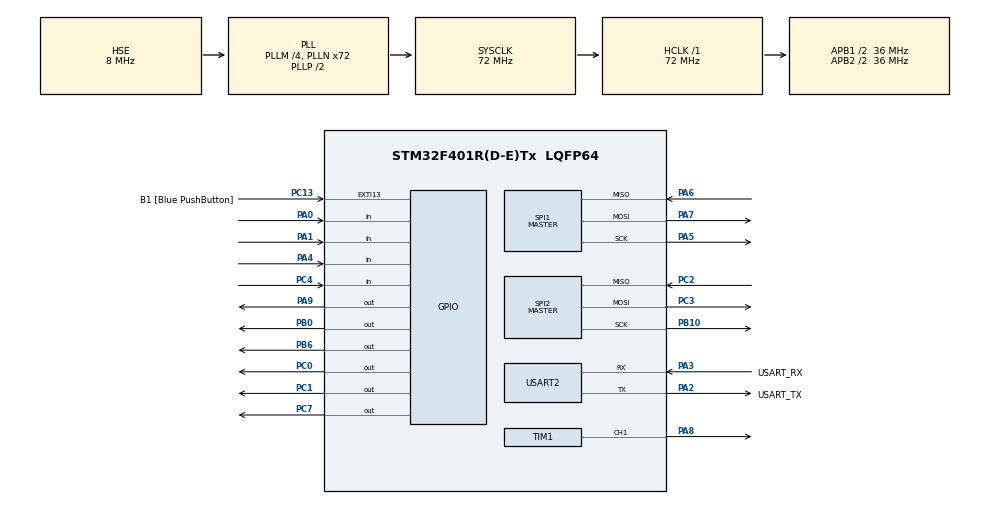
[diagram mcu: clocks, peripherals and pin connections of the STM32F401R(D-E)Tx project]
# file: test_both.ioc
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Dma.Request0=TIM1_CH1
Dma.Request1=SPI2_TX
Dma.Request2=SPI1_TX
Dma.SPI1_TX.2.Direction=DMA_MEMORY_TO_PERIPH
Dma.SPI1_TX.2.FIFOMode=DMA_FIFOMODE_DISABLE
Dma.SPI1_TX.2.Instance=DMA2_Stream3
Dma.SPI1_TX.2.MemDataAlignment=DMA_MDATAALIGN_BYTE
Dma.SPI1_TX.2.MemInc=DMA_MINC_ENABLE
Dma.SPI1_TX.2.Mode=DMA_NORMAL
Dma.SPI1_TX.2.PeriphDataAlignment=DMA_PDATAALIGN_BYTE
Dma.SPI1_TX.2.PeriphInc=DMA_PINC_DISABLE
Dma.SPI1_TX.2.Priority=DMA_PRIORITY_LOW
Dma.SPI2_TX.1.Direction=DMA_MEMORY_TO_PERIPH
Dma.SPI2_TX.1.FIFOMode=DMA_FIFOMODE_DISABLE
Dma.SPI2_TX.1.Instance=DMA1_Stream4
Dma.SPI2_TX.1.MemDataAlignment=DMA_MDATAALIGN_BYTE
Dma.SPI2_TX.1.MemInc=DMA_MINC_ENABLE
Dma.SPI2_TX.1.Mode=DMA_NORMAL
Dma.SPI2_TX.1.PeriphDataAlignment=DMA_PDATAALIGN_BYTE
Dma.SPI2_TX.1.PeriphInc=DMA_PINC_DISABLE
Dma.SPI2_TX.1.Priority=DMA_PRIORITY_LOW
Dma.TIM1_CH1.0.Direction=DMA_MEMORY_TO_PERIPH
Dma.TIM1_CH1.0.FIFOMode=DMA_FIFOMODE_DISABLE
Dma.TIM1_CH1.0.Instance=DMA2_Stream1
Dma.TIM1_CH1.0.MemDataAlignment=DMA_MDATAALIGN_HALFWORD
Dma.TIM1_CH1.0.MemInc=DMA_MINC_ENABLE
Dma.TIM1_CH1.0.Mode=DMA_NORMAL
Dma.TIM1_CH1.0.PeriphDataAlignment=DMA_PDATAALIGN_HALFWORD
Dma.TIM1_CH1.0.PeriphInc=DMA_PINC_DISABLE
Dma.TIM1_CH1.0.Priority=DMA_PRIORITY_LOW
Mcu.Family=STM32F4
Mcu.Name=STM32F401R(D-E)Tx
Mcu.Package=LQFP64
NVIC.DMA1_Stream4_IRQn=true\:0\:0\:false\:false\:true\:false\:true\:true
NVIC.DMA2_Stream1_IRQn=true\:0\:0\:false\:false\:true\:false\:true\:true
NVIC.DMA2_Stream3_IRQn=true\:0\:0\:false\:false\:true\:false\:true\:true
NVIC.PriorityGroup=NVIC_PRIORITYGROUP_4
NVIC.TIM1_CC_IRQn=true\:0\:0\:false\:false\:true\:true\:true\:true
NVIC.TIM1_TRG_COM_TIM11_IRQn=true\:0\:0\:false\:false\:true\:true\:true\:true
PA0-WKUP.Signal=GPIO_Input
PA1.Signal=GPIO_Input
PA13.GPIO_Label=TMS
PA13.Mode=Trace_Asynchronous_SW
PA13.Signal=SYS_JTMS-SWDIO
PA14.GPIO_Label=TCK
PA14.Mode=Trace_Asynchronous_SW
PA14.Signal=SYS_JTCK-SWCLK
PA2.GPIO_Label=USART_TX
PA2.GPIO_Mode=GPIO_MODE_AF_PP
PA2.GPIO_PuPd=GPIO_NOPULL
PA2.GPIO_Speed=GPIO_SPEED_FREQ_LOW
PA2.Mode=Asynchronous
PA2.Signal=USART2_TX
PA3.GPIO_Label=USART_RX
PA3.GPIO_Mode=GPIO_MODE_AF_PP
PA3.GPIO_PuPd=GPIO_NOPULL
PA3.GPIO_Speed=GPIO_SPEED_FREQ_LOW
PA3.Mode=Asynchronous
PA3.Signal=USART2_RX
PA4.Signal=GPIO_Input
PA5.Mode=Full_Duplex_Master
PA5.Signal=SPI1_SCK
PA6.Mode=Full_Duplex_Master
PA6.Signal=SPI1_MISO
PA7.Mode=Full_Duplex_Master
PA7.Signal=SPI1_MOSI
PA8.Signal=S_TIM1_CH1
PA9.Signal=GPIO_Output
PB0.Signal=GPIO_Output
PB10.Mode=Full_Duplex_Master
PB10.Signal=SPI2_SCK
PB3.GPIO_Label=SWO
PB3.Mode=Trace_Asynchronous_SW
PB3.Signal=SYS_JTDO-SWO
PB6.Signal=GPIO_Output
PC0.Signal=GPIO_Output
PC1.Signal=GPIO_Output
PC13-ANTI_TAMP.GPIO_Label=B1 [Blue PushButton]
PC13-ANTI_TAMP.GPIO_ModeDefaultEXTI=GPIO_MODE_IT_FALLING
PC13-ANTI_TAMP.GPIO_PuPd=GPIO_NOPULL
PC13-ANTI_TAMP.Signal=GPXTI13
PC14-OSC32_IN.Mode=LSE-External-Oscillator
PC14-OSC32_IN.Signal=RCC_OSC32_IN
PC15-OSC32_OUT.Mode=LSE-External-Oscillator
PC15-OSC32_OUT.Signal=RCC_OSC32_OUT
PC2.Mode=Full_Duplex_Master
PC2.Signal=SPI2_MISO
PC3.Mode=Full_Duplex_Master
PC3.Signal=SPI2_MOSI
PC4.Signal=GPIO_Input
PC7.Signal=GPIO_Output
PH0\ -\ OSC_IN.Mode=HSE-External-Clock-Source
PH0\ -\ OSC_IN.Signal=RCC_OSC_IN
PH1\ -\ OSC_OUT.Mode=HSE-External-Clock-Source
PH1\ -\ OSC_OUT.Signal=RCC_OSC_OUT
ProjectManager.HeapSize=0x200
ProjectManager.StackSize=0x400
ProjectManager.TargetToolchain=STM32CubeIDE
RCC.48MHZClocksFreq_Value=20571428.57142857
RCC.AHBFreq_Value=72000000
RCC.APB1CLKDivider=RCC_HCLK_DIV2
RCC.APB1Freq_Value=36000000
RCC.APB1TimFreq_Value=72000000
RCC.APB2CLKDivider=RCC_HCLK_DIV2
RCC.APB2Freq_Value=36000000
RCC.APB2TimFreq_Value=72000000
RCC.CortexFreq_Value=72000000
RCC.HCLKFreq_Value=72000000
RCC.HSE_VALUE=8000000
RCC.HSI_VALUE=16000000
RCC.PLLM=4
RCC.PLLN=72
RCC.PLLQ=7
RCC.PLLSourceVirtual=RCC_PLLSOURCE_HSE
RCC.SYSCLKFreq_VALUE=72000000
RCC.SYSCLKSource=RCC_SYSCLKSOURCE_PLLCLK
RCC.VCOOutputFreq_Value=144000000
SH.S_TIM1_CH1.0=TIM1_CH1,PWM Generation1 CH1
SPI1.BaudRatePrescaler=SPI_BAUDRATEPRESCALER_8
SPI1.Direction=SPI_DIRECTION_2LINES
SPI1.Mode=SPI_MODE_MASTER
SPI1.VirtualType=VM_MASTER
SPI2.BaudRatePrescaler=SPI_BAUDRATEPRESCALER_256
SPI2.Direction=SPI_DIRECTION_2LINES
SPI2.Mode=SPI_MODE_MASTER
SPI2.VirtualType=VM_MASTER
TIM1.Channel-PWM\ Generation1\ CH1=TIM_CHANNEL_1
TIM1.Period=90-1
USART2.VirtualMode=VM_ASYNC
VP_FATFS_VS_Generic.Mode=User_defined
board=NUCLEO-F401RE

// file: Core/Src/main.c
/* USER CODE BEGIN Header */
/**
  ******************************************************************************
  * @file           : main.c
  * @brief          : Main program body
  ******************************************************************************
  * @attention
  *
  * Copyright (c) 2025 STMicroelectronics.
  * All rights reserved.
  *
  * This software is licensed under terms that can be found in the LICENSE file
  * in the root directory of this software component.
  * If no LICENSE file comes with this software, it is provided AS-IS.
  *
  ******************************************************************************
  */
/* USER CODE END Header */
#include "main.h"

/* USER CODE BEGIN Includes */
#include "gpio.h"
#include "dma.h"
#include "spi.h"
#include "tim.h"
#include "usart.h"
#include "menu.h"
#include "fatfs.h"
#include "chess_clock.h"
#include "mux.h"

//Załączenie bibliotek do obsługi wyświetlacza + ARGB
#include "led_scheduler.h"
#include "lcd_scheduler.h"
#include "ILI9341_STM32_Driver.h"
#include "ILI9341_GFX.h"

#include "chess_pieces.h"

#include <stdio.h>
#include <string.h>
#include <stdarg.h> //for va_list var arg functions
/* USER CODE END Includes */

void SystemClock_Config(void);
/* USER CODE BEGIN PFP */
void myprintf(const char *fmt, ...);
/* USER CODE END PFP */

/* USER CODE BEGIN 0 */
void myprintf(const char *fmt, ...) {
  static char buffer[256];
  va_list args;
  va_start(args, fmt);
  vsnprintf(buffer, sizeof(buffer), fmt, args);
  va_end(args);

  int len = strlen(buffer);
  HAL_UART_Transmit(&huart2, (uint8_t*)buffer, len, -1);

}
/* USER CODE END 0 */

int main(void)
{

  /* MCU Configuration--------------------------------------------------------*/

  /* Reset of all peripherals, Initializes the Flash interface and the Systick. */
  HAL_Init();

  /* Configure the system clock */
  SystemClock_Config();

  /* Initialize all configured peripherals */\
  HAL_Init();
  SystemClock_Config();
  MX_GPIO_Init();
  MX_DMA_Init();
  MX_USART2_UART_Init();
  MX_TIM1_Init();
  MX_SPI2_Init();
  MX_SPI1_Init();
  ILI9341_Init();
  Menu_Init();

  //cycle_mux_channels();

  /* Infinite loop */
  /* USER CODE BEGIN WHILE */
  for (;;)
      {
          MenuResult r = Menu_ShowMain();

          if (r == MENU_RESULT_CHESS_CLOCK) {
        	  ChessClock_SetInitialTime(5 * 60 * 1000); // 5 minut (opcjonalnie)
        	  ChessClock_Run(); // wraca po BACK; przywraca orientację menu
          }
          else if (r == MENU_RESULT_OPENINGS) {
              // TODO: podmenu wyboru otwarc
				ILI9341_Fill_Screen(BLACK);
				ILI9341_Draw_Text("TODO: Otwarcia", 10, 10, WHITE, 2, BLACK);
				led_scheduler_init();
				ledchess_set_origin_top(false);

				// wyczyść planszę na ciemno
				ws2812_set_all(0,0,0);
				leds_show_and_pause(2000);

				// 1) Ruch pionkiem białym: e2 -> e4
				ledchess_draw_move(PIECE_PAWN, "e2", "e4", 0,255,0, LEDCHESS_WHITE);
				leds_show_and_pause(2000);
				ws2812_set_all(0,0,0);
				leds_show_and_pause(50);

				// 2) Skoczek: g1 -> f3
				ledchess_draw_move(PIECE_KNIGHT, "g1", "f3", 255,128,0, LEDCHESS_WHITE);
				leds_show_and_pause(2000);
				ws2812_set_all(0,0,0);
				leds_show_and_pause(50);

				// 3) Goniec: c1 -> h6
				ledchess_draw_move(PIECE_BISHOP, "c1", "h6", 0,128,255, LEDCHESS_WHITE);
				leds_show_and_pause(2000);
				ws2812_set_all(0,0,0);
				leds_show_and_pause(50);

				// 4) Wieża: a1 -> a8
				ledchess_draw_move(PIECE_ROOK, "a1", "a8", 255,0,0, LEDCHESS_WHITE);
				leds_show_and_pause(2000);
				ws2812_set_all(0,0,0);
				leds_show_and_pause(50);

				// 5) Hetman: d1 -> h5 (po skosie)
				ledchess_draw_move(PIECE_QUEEN, "d1", "h5", 255,0,255, LEDCHESS_WHITE);
				leds_show_and_pause(2000);
				ws2812_set_all(0,0,0);
				leds_show_and_pause(50);

				// 6) Król: e1 -> e2 (tylko pole docelowe)
				ledchess_draw_move(PIECE_KING, "e1", "e2", 255,255,0, LEDCHESS_WHITE);
				leds_show_and_pause(2000);
				ws2812_set_all(0,0,0);
				leds_show_and_pause(50);
              HAL_Delay(1000);
          }
          else if(r == MENU_RESULT_MUX){
        	  cycle_mux_channels();
              ws2812_set_all(0,0,0);
              leds_show_and_pause(50);
          }
          else { // MENU_RESULT_BACK
              // wróć / zrób co chcesz
          }
      }
  //led_scheduler_init();
  //lcd_scheduler_init();
//  ledchess_set_origin_top(false);
//
//  // wyczyść planszę na ciemno
//  ws2812_set_all(0,0,0);
//  leds_show_and_pause(2000);
//
//  // 1) Ruch pionkiem białym: e2 -> e4
//  ledchess_draw_move(PIECE_PAWN, "e2", "e4", 0,255,0, LEDCHESS_WHITE);
//  leds_show_and_pause(2000);
//  ws2812_set_all(0,0,0);
//  leds_show_and_pause(50);
//
//  // 2) Skoczek: g1 -> f3
//  ledchess_draw_move(PIECE_KNIGHT, "g1", "f3", 255,128,0, LEDCHESS_WHITE);
//  leds_show_and_pause(2000);
//  ws2812_set_all(0,0,0);
//  leds_show_and_pause(50);
//
//  // 3) Goniec: c1 -> h6
//  ledchess_draw_move(PIECE_BISHOP, "c1", "h6", 0,128,255, LEDCHESS_WHITE);
//  leds_show_and_pause(2000);
//  ws2812_set_all(0,0,0);
//  leds_show_and_pause(50);
//
//  // 4) Wieża: a1 -> a8
//  ledchess_draw_move(PIECE_ROOK, "a1", "a8", 255,0,0, LEDCHESS_WHITE);
//  leds_show_and_pause(2000);
//  ws2812_set_all(0,0,0);
//  leds_show_and_pause(50);
//
//  // 5) Hetman: d1 -> h5 (po skosie)
//  ledchess_draw_move(PIECE_QUEEN, "d1", "h5", 255,0,255, LEDCHESS_WHITE);
//  leds_show_and_pause(2000);
//  ws2812_set_all(0,0,0);
//  leds_show_and_pause(50);
//
//  // 6) Król: e1 -> e2 (tylko pole docelowe)
//  ledchess_draw_move(PIECE_KING, "e1", "e2", 255,255,0, LEDCHESS_WHITE);
//  leds_show_and_pause(2000);
//  ws2812_set_all(0,0,0);
//  leds_show_and_pause(50);

  while (1)
  {
	  //set_mux_select(0);
    /* USER CODE END WHILE */
	//led_scheduler_tick();
	//lcd_scheduler_tick();
//	  if (button1_pressed()) {
//		  ILI9341_Fill_Screen(BLACK);  // Wyczyść ekran
//		  ILI9341_Draw_Text("Przycisk 1", 20, 20, WHITE, 2,BLACK);  // Wypisz nazwę przycisku
//	  } else if (button2_pressed()) {
//		  ILI9341_Fill_Screen(BLACK);
//		  ILI9341_Draw_Text("Przycisk 2", 20, 20, WHITE, 2, BLACK);
//	  } else if (button3_pressed()) {
//		  ILI9341_Fill_Screen(BLACK);
//		  ILI9341_Draw_Text("Przycisk 3", 20, 20, WHITE, 2, BLACK);
//	  } else if (button4_pressed()) {
//		  ILI9341_Fill_Screen(BLACK);
//		  ILI9341_Draw_Text("Przycisk 4", 20, 20, WHITE, 2, BLACK);
//	          }
  }
}

void SystemClock_Config(void)
{
  RCC_OscInitTypeDef RCC_OscInitStruct = {0};
  RCC_ClkInitTypeDef RCC_ClkInitStruct = {0};

  /** Configure the main internal regulator output voltage
  */
  __HAL_RCC_PWR_CLK_ENABLE();
  __HAL_PWR_VOLTAGESCALING_CONFIG(PWR_REGULATOR_VOLTAGE_SCALE2);

  /** Initializes the RCC Oscillators according to the specified parameters
  * in the RCC_OscInitTypeDef structure.
  */
  RCC_OscInitStruct.OscillatorType = RCC_OSCILLATORTYPE_HSE;
  RCC_OscInitStruct.HSEState = RCC_HSE_BYPASS;
  RCC_OscInitStruct.PLL.PLLState = RCC_PLL_ON;
  RCC_OscInitStruct.PLL.PLLSource = RCC_PLLSOURCE_HSE;
  RCC_OscInitStruct.PLL.PLLM = 4;
  RCC_OscInitStruct.PLL.PLLN = 72;
  RCC_OscInitStruct.PLL.PLLP = RCC_PLLP_DIV2;
  RCC_OscInitStruct.PLL.PLLQ = 7;
  if (HAL_RCC_OscConfig(&RCC_OscInitStruct) != HAL_OK)
  {
    Error_Handler();
  }

  /** Initializes the CPU, AHB and APB buses clocks
  */
  RCC_ClkInitStruct.ClockType = RCC_CLOCKTYPE_HCLK|RCC_CLOCKTYPE_SYSCLK
                              |RCC_CLOCKTYPE_PCLK1|RCC_CLOCKTYPE_PCLK2;
  RCC_ClkInitStruct.SYSCLKSource = RCC_SYSCLKSOURCE_PLLCLK;
  RCC_ClkInitStruct.AHBCLKDivider = RCC_SYSCLK_DIV1;
  RCC_ClkInitStruct.APB1CLKDivider = RCC_HCLK_DIV2;
  RCC_ClkInitStruct.APB2CLKDivider = RCC_HCLK_DIV2;

  if (HAL_RCC_ClockConfig(&RCC_ClkInitStruct, FLASH_LATENCY_2) != HAL_OK)
  {
    Error_Handler();
  }
}

//void MX_SPI1_Init(void)
//{
//
//  /* USER CODE BEGIN SPI1_Init 0 */
//
//  /* USER CODE END SPI1_Init 0 */
//
//  /* USER CODE BEGIN SPI1_Init 1 */
//
//  /* USER CODE END SPI1_Init 1 */
//  /* SPI1 parameter configuration*/
//  hspi1.Instance = SPI1;
//  hspi1.Init.Mode = SPI_MODE_MASTER;
//  hspi1.Init.Direction = SPI_DIRECTION_2LINES;
//  hspi1.Init.DataSize = SPI_DATASIZE_8BIT;
//  hspi1.Init.CLKPolarity = SPI_POLARITY_LOW;
//  hspi1.Init.CLKPhase = SPI_PHASE_1EDGE;
//  hspi1.Init.NSS = SPI_NSS_SOFT;
//  hspi1.Init.BaudRatePrescaler = SPI_BAUDRATEPRESCALER_8;
//  hspi1.Init.FirstBit = SPI_FIRSTBIT_MSB;
//  hspi1.Init.TIMode = SPI_TIMODE_DISABLE;
//  hspi1.Init.CRCCalculation = SPI_CRCCALCULATION_DISABLE;
//  hspi1.Init.CRCPolynomial = 10;
//  if (HAL_SPI_Init(&hspi1) != HAL_OK)
//  {
//    Error_Handler();
//  }
//  /* USER CODE BEGIN SPI1_Init 2 */
//
//  /* USER CODE END SPI1_Init 2 */
//
//}

//void MX_SPI2_Init(void)
//{
//
//  /* USER CODE BEGIN SPI2_Init 0 */
//
//  /* USER CODE END SPI2_Init 0 */
//
//  /* USER CODE BEGIN SPI2_Init 1 */
//
//  /* USER CODE END SPI2_Init 1 */
//  /* SPI2 parameter configuration*/
//  hspi2.Instance = SPI2;
//  hspi2.Init.Mode = SPI_MODE_MASTER;
//  hspi2.Init.Direction = SPI_DIRECTION_2LINES;
//  hspi2.Init.DataSize = SPI_DATASIZE_8BIT;
//  hspi2.Init.CLKPolarity = SPI_POLARITY_LOW;
//  hspi2.Init.CLKPhase = SPI_PHASE_1EDGE;
//  hspi2.Init.NSS = SPI_NSS_SOFT;
//  hspi2.Init.BaudRatePrescaler = SPI_BAUDRATEPRESCALER_4;
//  hspi2.Init.FirstBit = SPI_FIRSTBIT_MSB;
//  hspi2.Init.TIMode = SPI_TIMODE_DISABLE;
//  hspi2.Init.CRCCalculation = SPI_CRCCALCULATION_DISABLE;
//  hspi2.Init.CRCPolynomial = 10;
//  if (HAL_SPI_Init(&hspi2) != HAL_OK)
//  {
//    Error_Handler();
//  }
//  /* USER CODE BEGIN SPI2_Init 2 */
//
//  /* USER CODE END SPI2_Init 2 */
//
//}

//void MX_TIM1_Init(void)
//{
//
//  /* USER CODE BEGIN TIM1_Init 0 */
//
//  /* USER CODE END TIM1_Init 0 */
//
//  TIM_MasterConfigTypeDef sMasterConfig = {0};
//  TIM_OC_InitTypeDef sConfigOC = {0};
//  TIM_BreakDeadTimeConfigTypeDef sBreakDeadTimeConfig = {0};
//
//  /* USER CODE BEGIN TIM1_Init 1 */
//
//  /* USER CODE END TIM1_Init 1 */
//  htim1.Instance = TIM1;
//  htim1.Init.Prescaler = 0;
//  htim1.Init.CounterMode = TIM_COUNTERMODE_UP;
//  htim1.Init.Period = 90-1;
//  htim1.Init.ClockDivision = TIM_CLOCKDIVISION_DIV1;
//  htim1.Init.RepetitionCounter = 0;
//  htim1.Init.AutoReloadPreload = TIM_AUTORELOAD_PRELOAD_DISABLE;
//  if (HAL_TIM_PWM_Init(&htim1) != HAL_OK)
//  {
//    Error_Handler();
//  }
//  sMasterConfig.MasterOutputTrigger = TIM_TRGO_RESET;
//  sMasterConfig.MasterSlaveMode = TIM_MASTERSLAVEMODE_DISABLE;
//  if (HAL_TIMEx_MasterConfigSynchronization(&htim1, &sMasterConfig) != HAL_OK)
//  {
//    Error_Handler();
//  }
//  sConfigOC.OCMode = TIM_OCMODE_PWM1;
//  sConfigOC.Pulse = 0;
//  sConfigOC.OCPolarity = TIM_OCPOLARITY_HIGH;
//  sConfigOC.OCNPolarity = TIM_OCNPOLARITY_HIGH;
//  sConfigOC.OCFastMode = TIM_OCFAST_DISABLE;
//  sConfigOC.OCIdleState = TIM_OCIDLESTATE_RESET;
//  sConfigOC.OCNIdleState = TIM_OCNIDLESTATE_RESET;
//  if (HAL_TIM_PWM_ConfigChannel(&htim1, &sConfigOC, TIM_CHANNEL_1) != HAL_OK)
//  {
//    Error_Handler();
//  }
//  sBreakDeadTimeConfig.OffStateRunMode = TIM_OSSR_DISABLE;
//  sBreakDeadTimeConfig.OffStateIDLEMode = TIM_OSSI_DISABLE;
//  sBreakDeadTimeConfig.LockLevel = TIM_LOCKLEVEL_OFF;
//  sBreakDeadTimeConfig.DeadTime = 0;
//  sBreakDeadTimeConfig.BreakState = TIM_BREAK_DISABLE;
//  sBreakDeadTimeConfig.BreakPolarity = TIM_BREAKPOLARITY_HIGH;
//  sBreakDeadTimeConfig.AutomaticOutput = TIM_AUTOMATICOUTPUT_DISABLE;
//  if (HAL_TIMEx_ConfigBreakDeadTime(&htim1, &sBreakDeadTimeConfig) != HAL_OK)
//  {
//    Error_Handler();
//  }
//  /* USER CODE BEGIN TIM1_Init 2 */
//
//  /* USER CODE END TIM1_Init 2 */
//  HAL_TIM_MspPostInit(&htim1);
//
//}

//void MX_USART2_UART_Init(void)
//{
//
//  /* USER CODE BEGIN USART2_Init 0 */
//
//  /* USER CODE END USART2_Init 0 */
//
//  /* USER CODE BEGIN USART2_Init 1 */
//
//  /* USER CODE END USART2_Init 1 */
//  huart2.Instance = USART2;
//  huart2.Init.BaudRate = 115200;
//  huart2.Init.WordLength = UART_WORDLENGTH_8B;
//  huart2.Init.StopBits = UART_STOPBITS_1;
//  huart2.Init.Parity = UART_PARITY_NONE;
//  huart2.Init.Mode = UART_MODE_TX_RX;
//  huart2.Init.HwFlowCtl = UART_HWCONTROL_NONE;
//  huart2.Init.OverSampling = UART_OVERSAMPLING_16;
//  if (HAL_UART_Init(&huart2) != HAL_OK)
//  {
//    Error_Handler();
//  }
//  /* USER CODE BEGIN USART2_Init 2 */
//
//  /* USER CODE END USART2_Init 2 */
//
//}

//void MX_DMA_Init(void)
//{
//
//  /* DMA controller clock enable */
//  __HAL_RCC_DMA2_CLK_ENABLE();
//  __HAL_RCC_DMA1_CLK_ENABLE();
//
//  /* DMA interrupt init */
//  /* DMA1_Stream4_IRQn interrupt configuration */
//  HAL_NVIC_SetPriority(DMA1_Stream4_IRQn, 0, 0);
//  HAL_NVIC_EnableIRQ(DMA1_Stream4_IRQn);
//  /* DMA2_Stream1_IRQn interrupt configuration */
//  HAL_NVIC_SetPriority(DMA2_Stream1_IRQn, 0, 0);
//  HAL_NVIC_EnableIRQ(DMA2_Stream1_IRQn);
//  /* DMA2_Stream3_IRQn interrupt configuration */
//  HAL_NVIC_SetPriority(DMA2_Stream3_IRQn, 0, 0);
//  HAL_NVIC_EnableIRQ(DMA2_Stream3_IRQn);
//
//}

//void MX_GPIO_Init(void)
//{
//  GPIO_InitTypeDef GPIO_InitStruct = {0};
//  /* USER CODE BEGIN MX_GPIO_Init_1 */
//
//  /* USER CODE END MX_GPIO_Init_1 */
//
//  /* GPIO Ports Clock Enable */
//  __HAL_RCC_GPIOC_CLK_ENABLE();
//  __HAL_RCC_GPIOH_CLK_ENABLE();
//  __HAL_RCC_GPIOA_CLK_ENABLE();
//  __HAL_RCC_GPIOB_CLK_ENABLE();
//
//  /*Configure GPIO pin Output Level */
//  HAL_GPIO_WritePin(GPIOC, GPIO_PIN_0|GPIO_PIN_1|GPIO_PIN_7, GPIO_PIN_RESET);
//
//  /*Configure GPIO pin Output Level */
//  HAL_GPIO_WritePin(GPIOB, GPIO_PIN_0|GPIO_PIN_6, GPIO_PIN_RESET);
//
//  /*Configure GPIO pin Output Level */
//  HAL_GPIO_WritePin(GPIOA, GPIO_PIN_9, GPIO_PIN_RESET);
//
//  /*Configure GPIO pin : B1_Pin */
//  GPIO_InitStruct.Pin = B1_Pin;
//  GPIO_InitStruct.Mode = GPIO_MODE_IT_FALLING;
//  GPIO_InitStruct.Pull = GPIO_NOPULL;
//  HAL_GPIO_Init(B1_GPIO_Port, &GPIO_InitStruct);
//
//  /*Configure GPIO pins : PC0 PC1 PC7 */
//  GPIO_InitStruct.Pin = GPIO_PIN_0|GPIO_PIN_1|GPIO_PIN_7;
//  GPIO_InitStruct.Mode = GPIO_MODE_OUTPUT_PP;
//  GPIO_InitStruct.Pull = GPIO_NOPULL;
//  GPIO_InitStruct.Speed = GPIO_SPEED_FREQ_LOW;
//  HAL_GPIO_Init(GPIOC, &GPIO_InitStruct);
//
//  /*Configure GPIO pins : PB0 PB6 */
//  GPIO_InitStruct.Pin = GPIO_PIN_0|GPIO_PIN_6;
//  GPIO_InitStruct.Mode = GPIO_MODE_OUTPUT_PP;
//  GPIO_InitStruct.Pull = GPIO_NOPULL;
//  GPIO_InitStruct.Speed = GPIO_SPEED_FREQ_LOW;
//  HAL_GPIO_Init(GPIOB, &GPIO_InitStruct);
//
//  /*Configure GPIO pin : PA9 */
//  GPIO_InitStruct.Pin = GPIO_PIN_9;
//  GPIO_InitStruct.Mode = GPIO_MODE_OUTPUT_PP;
//  GPIO_InitStruct.Pull = GPIO_NOPULL;
//  GPIO_InitStruct.Speed = GPIO_SPEED_FREQ_LOW;
//  HAL_GPIO_Init(GPIOA, &GPIO_InitStruct);
//
//  /* USER CODE BEGIN MX_GPIO_Init_2 */
//
//  /* USER CODE END MX_GPIO_Init_2 */
//}

void Error_Handler(void)
{
  __disable_irq();
  while (1)
  {
  }
}
